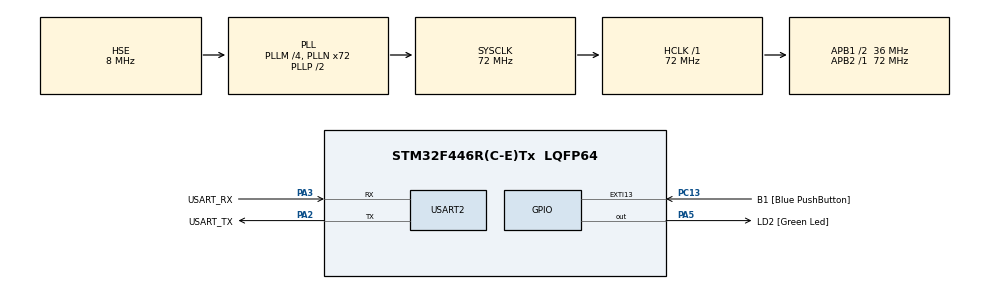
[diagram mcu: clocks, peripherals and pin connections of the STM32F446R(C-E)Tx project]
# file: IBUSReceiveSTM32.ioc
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Dma.Request0=USART2_RX
Dma.USART2_RX.0.Direction=DMA_PERIPH_TO_MEMORY
Dma.USART2_RX.0.FIFOMode=DMA_FIFOMODE_DISABLE
Dma.USART2_RX.0.Instance=DMA1_Stream5
Dma.USART2_RX.0.MemDataAlignment=DMA_MDATAALIGN_BYTE
Dma.USART2_RX.0.MemInc=DMA_MINC_ENABLE
Dma.USART2_RX.0.Mode=DMA_NORMAL
Dma.USART2_RX.0.PeriphDataAlignment=DMA_PDATAALIGN_BYTE
Dma.USART2_RX.0.PeriphInc=DMA_PINC_DISABLE
Dma.USART2_RX.0.Priority=DMA_PRIORITY_LOW
Mcu.Family=STM32F4
Mcu.Name=STM32F446R(C-E)Tx
Mcu.Package=LQFP64
NVIC.DMA1_Stream5_IRQn=true\:0\:0\:false\:false\:true\:false\:true
NVIC.PriorityGroup=NVIC_PRIORITYGROUP_0
PA13.GPIO_Label=TMS
PA13.Mode=Serial_Wire
PA13.Signal=SYS_JTMS-SWDIO
PA14.GPIO_Label=TCK
PA14.Mode=Serial_Wire
PA14.Signal=SYS_JTCK-SWCLK
PA2.GPIO_Label=USART_TX
PA2.Mode=Asynchronous
PA2.Signal=USART2_TX
PA3.GPIO_Label=USART_RX
PA3.Mode=Asynchronous
PA3.Signal=USART2_RX
PA5.GPIO_Label=LD2 [Green Led]
PA5.Signal=GPIO_Output
PB3.GPIO_Label=SWO
PB3.Signal=SYS_JTDO-SWO
PC13.GPIO_Label=B1 [Blue PushButton]
PC13.GPIO_ModeDefaultEXTI=GPIO_MODE_IT_FALLING
PC13.Signal=GPXTI13
PC14-OSC32_IN.Mode=LSE-External-Oscillator
PC14-OSC32_IN.Signal=RCC_OSC32_IN
PC15-OSC32_OUT.Mode=LSE-External-Oscillator
PC15-OSC32_OUT.Signal=RCC_OSC32_OUT
PH0-OSC_IN.Mode=HSE-External-Oscillator
PH0-OSC_IN.Signal=RCC_OSC_IN
PH1-OSC_OUT.Mode=HSE-External-Oscillator
PH1-OSC_OUT.Signal=RCC_OSC_OUT
ProjectManager.HeapSize=0x200
ProjectManager.StackSize=0x400
ProjectManager.TargetToolchain=STM32CubeIDE
RCC.48MHZClocksFreq_Value=84000000
RCC.AHBFreq_Value=72000000
RCC.APB1CLKDivider=RCC_HCLK_DIV2
RCC.APB1Freq_Value=36000000
RCC.APB1TimFreq_Value=72000000
RCC.APB2Freq_Value=72000000
RCC.APB2TimFreq_Value=72000000
RCC.CortexFreq_Value=72000000
RCC.FLatency-AdvancedSettings=FLASH_LATENCY_2
RCC.HCLKFreq_Value=72000000
RCC.HSE_VALUE=8000000
RCC.HSI_VALUE=16000000
RCC.PLLM=4
RCC.PLLN=72
RCC.PLLSourceVirtual=RCC_PLLSOURCE_HSE
RCC.SYSCLKFreq_VALUE=72000000
RCC.SYSCLKSource=RCC_SYSCLKSOURCE_PLLCLK
RCC.USBFreq_Value=72000000
RCC.VCOOutputFreq_Value=144000000
USART2.VirtualMode=VM_ASYNC
board=NUCLEO-F446RE

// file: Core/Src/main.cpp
/* USER CODE BEGIN Header */
/**
  ******************************************************************************
  * @file           : main.c
  * @brief          : Main program body
  ******************************************************************************
  * @attention
  *
  * Copyright (c) 2022 STMicroelectronics.
  * All rights reserved.
  *
  * This software is licensed under terms that can be found in the LICENSE file
  * in the root directory of this software component.
  * If no LICENSE file comes with this software, it is provided AS-IS.
  *
  ******************************************************************************
  */
/* USER CODE END Header */
#include "main.h"
#include <stdio.h>
/* USER CODE BEGIN Includes */
UART_HandleTypeDef huart2;
DMA_HandleTypeDef hdma_usart2_rx;
/* User configuration */
#define IBUS_UART				(&huart2)
#define IBUS_USER_CHANNELS		6		// Use 6 channels

/* Defines */
#define IBUS_LENGTH				0x20	// 32 bytes
#define IBUS_COMMAND40			0x40	// Command to set servo or motor speed is always 0x40
#define IBUS_MAX_CHANNLES		14

/* Main Functions */
void ibus_init();
bool ibus_read(uint16_t* ibus_data);

/* Sub Functions */
bool ibus_is_valid();
bool ibus_checksum();
void ibus_update(uint16_t* ibus_data);
void ibus_soft_failsafe(uint16_t* ibus_data, uint8_t fail_safe_max);
void ibus_reset_failsafe();

uint16_t ibus_data[IBUS_USER_CHANNELS];
/* USER CODE END Includes */

void SystemClock_Config(void);
static void MX_GPIO_Init(void);
static void MX_USART2_UART_Init(void);
static void MX_DMA_Init(void);

/* USER CODE BEGIN 0 */
#ifdef __GNUC__
#define PUTCHAR_PROTOTYPE int __io_putchar(int ch)
#else
#define PUTCHAR_PROTOTYPE int fputc(int ch, FILE *f)
#endif

PUTCHAR_PROTOTYPE {
    HAL_UART_Transmit(&huart2, (uint8_t *)&ch, 1, HAL_MAX_DELAY);
    return ch;
}
/* USER CODE END 0 */

int main(void)
{

  /* MCU Configuration--------------------------------------------------------*/

  /* Reset of all peripherals, Initializes the Flash interface and the Systick. */
  HAL_Init();

  /* Configure the system clock */
  SystemClock_Config();

  /* Initialize all configured peripherals */
  MX_GPIO_Init();
  MX_USART2_UART_Init();
  MX_DMA_Init();

  /* USER CODE BEGIN 2 */
  printf("Hello \n");
  /* USER CODE END 2 */

  /* Infinite loop */
  /* USER CODE BEGIN WHILE */
  while (1)
  {
	  ibus_read(ibus_data);

	  for(int i = 0; i < IBUS_USER_CHANNELS; i++){
		  volatile uint16_t data = ibus_data[i];
		  printf("%d ", ibus_data[i]);
	  }
	  printf("\n");

	  ibus_soft_failsafe(ibus_data, 10);
	  HAL_Delay(10);
    /* USER CODE END WHILE */

  }
}

void SystemClock_Config(void)
{
  RCC_OscInitTypeDef RCC_OscInitStruct = {0};
  RCC_ClkInitTypeDef RCC_ClkInitStruct = {0};

  /** Configure the main internal regulator output voltage
  */
  __HAL_RCC_PWR_CLK_ENABLE();
  __HAL_PWR_VOLTAGESCALING_CONFIG(PWR_REGULATOR_VOLTAGE_SCALE3);
  /** Initializes the RCC Oscillators according to the specified parameters
  * in the RCC_OscInitTypeDef structure.
  */
  RCC_OscInitStruct.OscillatorType = RCC_OSCILLATORTYPE_HSE;
  RCC_OscInitStruct.HSEState = RCC_HSE_ON;
  RCC_OscInitStruct.PLL.PLLState = RCC_PLL_ON;
  RCC_OscInitStruct.PLL.PLLSource = RCC_PLLSOURCE_HSE;
  RCC_OscInitStruct.PLL.PLLM = 4;
  RCC_OscInitStruct.PLL.PLLN = 72;
  RCC_OscInitStruct.PLL.PLLP = RCC_PLLP_DIV2;
  RCC_OscInitStruct.PLL.PLLQ = 2;
  RCC_OscInitStruct.PLL.PLLR = 2;
  if (HAL_RCC_OscConfig(&RCC_OscInitStruct) != HAL_OK)
  {
    Error_Handler();
  }
  /** Initializes the CPU, AHB and APB buses clocks
  */
  RCC_ClkInitStruct.ClockType = RCC_CLOCKTYPE_HCLK|RCC_CLOCKTYPE_SYSCLK
                              |RCC_CLOCKTYPE_PCLK1|RCC_CLOCKTYPE_PCLK2;
  RCC_ClkInitStruct.SYSCLKSource = RCC_SYSCLKSOURCE_PLLCLK;
  RCC_ClkInitStruct.AHBCLKDivider = RCC_SYSCLK_DIV1;
  RCC_ClkInitStruct.APB1CLKDivider = RCC_HCLK_DIV2;
  RCC_ClkInitStruct.APB2CLKDivider = RCC_HCLK_DIV1;

  if (HAL_RCC_ClockConfig(&RCC_ClkInitStruct, FLASH_LATENCY_2) != HAL_OK)
  {
    Error_Handler();
  }
}

static void MX_USART2_UART_Init(void)
{

  huart2.Instance = USART2;
  huart2.Init.BaudRate = 115200;
  huart2.Init.WordLength = UART_WORDLENGTH_8B;
  huart2.Init.StopBits = UART_STOPBITS_1;
  huart2.Init.Parity = UART_PARITY_NONE;
  huart2.Init.Mode = UART_MODE_TX_RX;
  huart2.Init.HwFlowCtl = UART_HWCONTROL_NONE;
  huart2.Init.OverSampling = UART_OVERSAMPLING_16;
  if (HAL_UART_Init(&huart2) != HAL_OK)
  {
    Error_Handler();
  }

}

static void MX_DMA_Init(void)
{

  /* DMA controller clock enable */
  __HAL_RCC_DMA1_CLK_ENABLE();

  /* DMA interrupt init */
  /* DMA1_Stream5_IRQn interrupt configuration */
  HAL_NVIC_SetPriority(DMA1_Stream5_IRQn, 0, 0);
  HAL_NVIC_EnableIRQ(DMA1_Stream5_IRQn);

}

static void MX_GPIO_Init(void)
{
  GPIO_InitTypeDef GPIO_InitStruct = {0};

  /* GPIO Ports Clock Enable */
  __HAL_RCC_GPIOC_CLK_ENABLE();
  __HAL_RCC_GPIOH_CLK_ENABLE();
  __HAL_RCC_GPIOA_CLK_ENABLE();
  __HAL_RCC_GPIOB_CLK_ENABLE();

  /*Configure GPIO pin Output Level */
  HAL_GPIO_WritePin(LD2_GPIO_Port, LD2_Pin, GPIO_PIN_RESET);

  /*Configure GPIO pin : B1_Pin */
  GPIO_InitStruct.Pin = B1_Pin;
  GPIO_InitStruct.Mode = GPIO_MODE_IT_FALLING;
  GPIO_InitStruct.Pull = GPIO_NOPULL;
  HAL_GPIO_Init(B1_GPIO_Port, &GPIO_InitStruct);

  /*Configure GPIO pin : LD2_Pin */
  GPIO_InitStruct.Pin = LD2_Pin;
  GPIO_InitStruct.Mode = GPIO_MODE_OUTPUT_PP;
  GPIO_InitStruct.Pull = GPIO_NOPULL;
  GPIO_InitStruct.Speed = GPIO_SPEED_FREQ_LOW;
  HAL_GPIO_Init(LD2_GPIO_Port, &GPIO_InitStruct);

}

/* USER CODE BEGIN 4 */

/* Static variable */
static uint8_t uart_rx_buffer[IBUS_LENGTH] = {0};
static uint8_t fail_safe_flag = 0;

/* Main Functions */
void ibus_init()
{
	HAL_UART_Receive_DMA(IBUS_UART, uart_rx_buffer, 32);
}

bool ibus_read(uint16_t* ibus_data)
{
	if(!ibus_is_valid())
		return false;

	if(!ibus_checksum())
		return false;

	ibus_update(ibus_data);
	return true;
}

/* Sub Functions */
bool ibus_is_valid()
{
	// is it ibus?
	return (uart_rx_buffer[0] == IBUS_LENGTH && uart_rx_buffer[1] == IBUS_COMMAND40);
}

bool ibus_checksum()
{
 	uint16_t checksum_cal = 0xffff;
	uint16_t checksum_ibus;

	for(int i = 0; i < 30; i++)
	{
		checksum_cal -= uart_rx_buffer[i];
	}

	checksum_ibus = uart_rx_buffer[31] << 8 | uart_rx_buffer[30]; // checksum value from ibus
	return (checksum_ibus == checksum_cal);
}

void ibus_update(uint16_t* ibus_data)
{
	for(int ch_index = 0, bf_index = 2; ch_index < IBUS_USER_CHANNELS; ch_index++, bf_index += 2)
	{
		ibus_data[ch_index] = uart_rx_buffer[bf_index + 1] << 8 | uart_rx_buffer[bf_index];
	}
}

/**
 * @note FS-A8S don't have fail safe feature, So make software fail-safe.
 */
void ibus_soft_failsafe(uint16_t* ibus_data, uint8_t fail_safe_max)
{
	fail_safe_flag++;

	if(fail_safe_max > fail_safe_flag)
		return;

	// Clear ibus data
	for(int i = 0; i < IBUS_USER_CHANNELS; i++)
		ibus_data[i] = 0;

	// Clear ibus buffer
	for(int j = 0; j < IBUS_LENGTH; j++)
		uart_rx_buffer[j] = 0;

	fail_safe_flag = 0;
	return;
}

/**
 * @note This function is located in HAL_UART_RxCpltCallback.
 */
void ibus_reset_failsafe()
{
		fail_safe_flag = 0; // flag reset
}
/* USER CODE END 4 */

void Error_Handler(void)
{
  __disable_irq();
  while (1)
  {
  }
}
